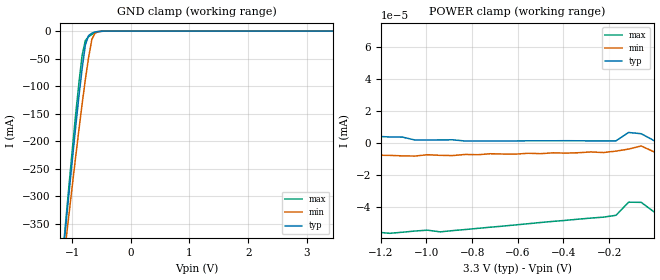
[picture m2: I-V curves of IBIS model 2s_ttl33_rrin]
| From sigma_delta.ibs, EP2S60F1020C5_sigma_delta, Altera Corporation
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[Model] 2s_ttl33_rrin
Model_type Input
Vinl  = 0.8
Vinh  = 1.7
C_comp  3.30pF  NA  NA
[Temperature Range]  25.000   85.000   0.000
[Voltage Range]   3.300   3.135   3.465
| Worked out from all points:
|   GND clamp passes 1 mA (typ) near -0.57 V on its own axis
[GND_Clamp]
| voltage   I(typ)   I(min)   I(max)
-3.3V     -2.848A    -2.512A    -3.038A
-1.16V    -410.1mA   -431.4mA   -405.2mA
-1.105V   -349.7mA   -379.8mA   -340mA
-1.05V    -290mA     -328.7mA   -275.6mA
-940mV    -173.7mA   -228.2mA   -151.1mA
-830mV    -67.94mA   -132.1mA   -43.69mA
-775mV    -24.89mA   -87.74mA   -16.99mA
-720mV    -8.101mA   -48.03mA   -10.19mA
-665mV    -3.701mA   -15.2mA    -6.192mA
-610mV    -1.662mA   -3.589mA   -3.266mA
-500mV    -208uA     -258.3uA   -497.4uA
3.455V    19.62nA    1.743uA    13.43nA
[POWER_Clamp]
|voltage   I(typ)   I(min)   I(max)
-3.3V     144.1uA    77.82uA    202.5uA
-1.49V    129.6nA    95.07nA    97.86nA
-1.435V   67.24nA    48.65nA    20.28nA
-1.38V    30.05nA    18.48nA    -26.35nA
-1.325V   11.95nA    2.737nA    -47.84nA
-1.27V    5.869nA    -3.184nA   -54.53nA
-1.105V   3.734nA    -7.95nA    -55.5nA
-225mV    1.373nA    -5.871nA   -46.11nA
-170mV    1.412nA    -4.978nA   -44.95nA
-115mV    6.627nA    -3.72nA    -36.79nA
-60mV     5.849nA    -1.784nA   -36.9nA
-5mV      1.659nA    -5.37nA    -42.7nA
